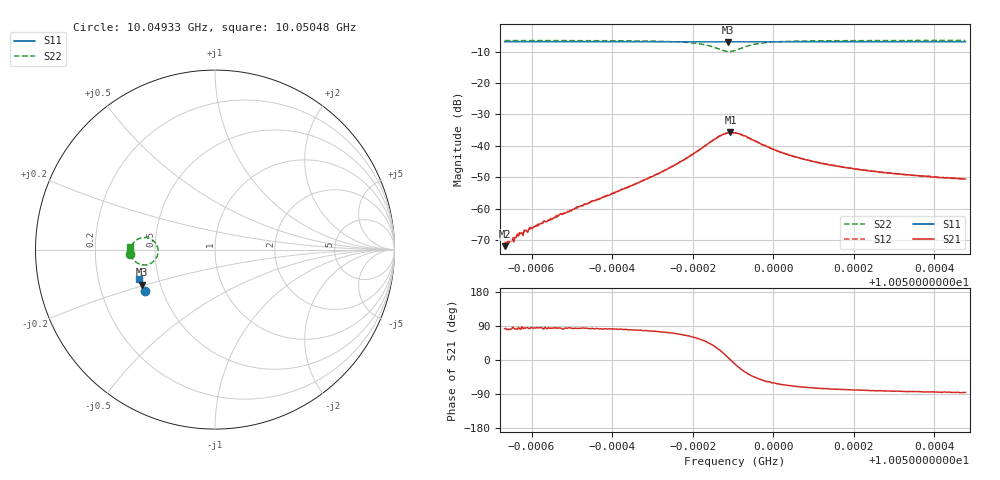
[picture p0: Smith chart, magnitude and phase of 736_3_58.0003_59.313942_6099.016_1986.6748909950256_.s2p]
#  HZ  S  RI  R  50.00
! Rohde & Schwarz Vector Network Analyzer
! Rohde-Schwarz,ZNB20-2Port,1311601062101988,3.16
! Created: UTC 3/21/2024, 1:23:18 AM
! freq[Hz]  re:S11  im:S11  re:S21  im:S21  re:S12  im:S12  re:S22  im:S22
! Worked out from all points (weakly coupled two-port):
!   401 points, 10.04933 GHz to 10.05048 GHz, reference 50 ohm
!   highest |S21| = -35.71 dB at 10.04989 GHz (marker M1); lowest = -71.9 dB at 10.04933 GHz (marker M2)
!   lowest |S11| = -6.9 dB at 10.04989 GHz (marker M3), VSWR 2.64, Z = 19.7 - j9.72 ohm
!   |S11| at or under -10 dB: nowhere
!   |S22| runs from -10.0 to -6.5 dB; largest |S21 - S12| = 0.0011
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1.0049333e10  -0.3918 -0.2295  3.11e-05 0.000253  3.4e-05 0.000297  -0.4737 -0.0264
1.0049347e10  -0.3923 -0.2285  4.67e-05 0.000321  3.83e-05 0.000315  -0.4738 -0.0252
1.0049356e10  -0.3926 -0.2279  3.02e-05 0.000296  1.97e-05 0.000354  -0.4738 -0.0242
1.004937e10  -0.3931 -0.2272  5.52e-05 0.000414  2.49e-05 0.000402  -0.4737 -0.0227
1.0049387e10  -0.3936 -0.2261  3.88e-05 0.00045  3.65e-05 0.000454  -0.4735 -0.0211
1.0049467e10  -0.3961 -0.2214  7.16e-05 0.000787  2.48e-05 0.000795  -0.4729 -0.0127
1.0049525e10  -0.3979 -0.2181  0.000111 0.00111  5.11e-05 0.00112  -0.4722 -0.00591
1.0049636e10  -0.4011 -0.2114  0.00037 0.00214  0.00024 0.00216  -0.4683 0.011
1.0049716e10  -0.4034 -0.2065  0.000958 0.0035  0.000765 0.00363  -0.4603 0.0292
1.0049782e10  -0.4052 -0.2024  0.00261 0.00565  0.00231 0.00581  -0.4408 0.0512
1.0049839e10  -0.4061 -0.1986  0.00772 0.00778  0.00731 0.00816  -0.3878 0.0673
1.0049868e10  -0.4063 -0.1969  0.0131 0.00625  0.0127 0.00692  -0.3392 0.045
1.0049888e10  -0.4065 -0.1961  0.016 0.00175  0.0158 0.0027  -0.3174 0.000156
1.0049894e10  -0.4068 -0.1961  0.0164 0.00017  0.0162 0.00108  -0.3172 -0.0154
1.0049905e10  -0.4069 -0.1957  0.016 -0.00298  0.016 -0.00205  -0.3258 -0.0445
1.0049934e10  -0.408 -0.1945  0.0118 -0.0078  0.012 -0.00708  -0.3742 -0.0831
1.0049974e10  -0.4095 -0.1924  0.00623 -0.00829  0.00675 -0.00791  -0.4264 -0.0783
1.0050034e10  -0.4116 -0.1886  0.00289 -0.00674  0.00336 -0.00661  -0.4563 -0.0538
1.0050097e10  -0.4133 -0.1849  0.00162 -0.00545  0.00197 -0.0054  -0.4666 -0.0353
1.0050177e10  -0.4155 -0.1798  0.000945 -0.00446  0.0012 -0.00442  -0.4717 -0.0194
1.0050288e10  -0.418 -0.1731  0.000522 -0.00369  0.000739 -0.00362  -0.4742 -0.00358
1.0050477e10  -0.4225 -0.1613  0.000224 -0.00297  0.000388 -0.00299  -0.475 0.016
